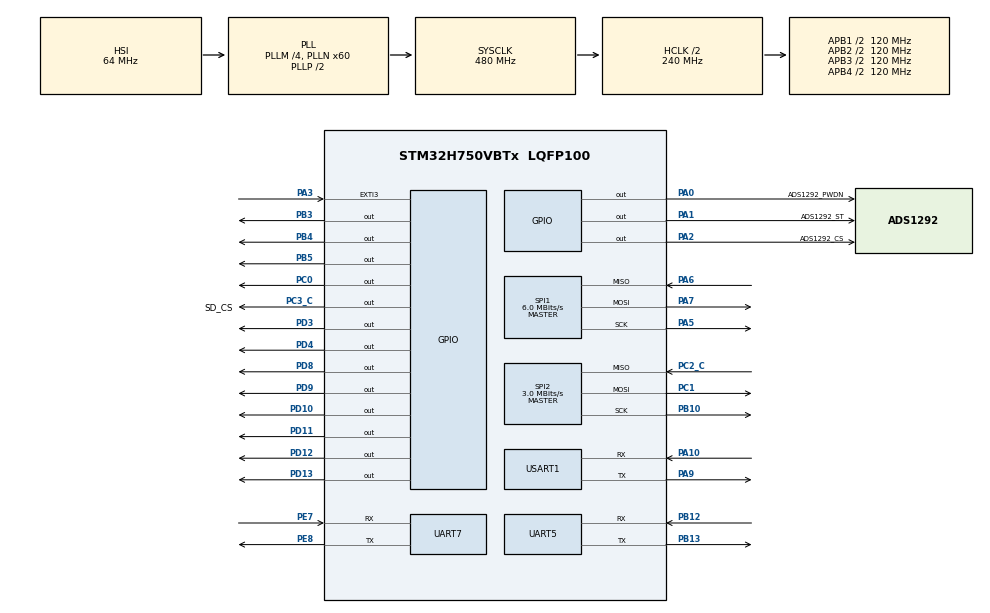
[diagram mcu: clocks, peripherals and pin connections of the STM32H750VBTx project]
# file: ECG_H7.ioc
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CORTEX_M7.default_mode_Activation=1
FATFS._MAX_SS=4096
FATFS._MIN_SS=512
FATFS._USE_LFN=1
Mcu.Family=STM32H7
Mcu.Name=STM32H750VBTx
Mcu.Package=LQFP100
NVIC.EXTI3_IRQn=true\:1\:0\:true\:false\:true\:true\:true\:true
NVIC.PriorityGroup=NVIC_PRIORITYGROUP_4
NVIC.UART5_IRQn=true\:2\:0\:true\:false\:true\:true\:true\:true
NVIC.UART7_IRQn=true\:2\:0\:true\:false\:true\:true\:true\:true
PA0.GPIO_Label=ADS1292_PWDN
PA0.GPIO_PuPd=GPIO_PULLUP
PA0.GPIO_Speed=GPIO_SPEED_FREQ_HIGH
PA0.PinState=GPIO_PIN_SET
PA0.Signal=GPIO_Output
PA1.GPIO_Label=ADS1292_ST
PA1.GPIO_PuPd=GPIO_PULLUP
PA1.GPIO_Speed=GPIO_SPEED_FREQ_HIGH
PA1.PinState=GPIO_PIN_SET
PA1.Signal=GPIO_Output
PA10.Mode=Asynchronous
PA10.Signal=USART1_RX
PA13\ (JTMS/SWDIO).Mode=Serial_Wire
PA13\ (JTMS/SWDIO).Signal=DEBUG_JTMS-SWDIO
PA14\ (JTCK/SWCLK).Mode=Serial_Wire
PA14\ (JTCK/SWCLK).Signal=DEBUG_JTCK-SWCLK
PA2.GPIO_Label=ADS1292_CS
PA2.GPIO_PuPd=GPIO_PULLUP
PA2.GPIO_Speed=GPIO_SPEED_FREQ_VERY_HIGH
PA2.PinState=GPIO_PIN_SET
PA2.Signal=GPIO_Output
PA3.GPIO_ModeDefaultEXTI=GPIO_MODE_IT_FALLING
PA3.GPIO_PuPd=GPIO_PULLUP
PA3.Signal=GPXTI3
PA5.Mode=Full_Duplex_Master
PA5.Signal=SPI1_SCK
PA6.Mode=Full_Duplex_Master
PA6.Signal=SPI1_MISO
PA7.Mode=Full_Duplex_Master
PA7.Signal=SPI1_MOSI
PA9.Mode=Asynchronous
PA9.Signal=USART1_TX
PB10.Mode=Full_Duplex_Master
PB10.Signal=SPI2_SCK
PB12.Mode=Asynchronous
PB12.Signal=UART5_RX
PB13.Mode=Asynchronous
PB13.Signal=UART5_TX
PB3\ (JTDO/TRACESWO).PinState=GPIO_PIN_RESET
PB3\ (JTDO/TRACESWO).Signal=GPIO_Output
PB4\ (NJTRST).Signal=GPIO_Output
PB5.Signal=GPIO_Output
PC0.Signal=GPIO_Output
PC1.Mode=Full_Duplex_Master
PC1.Signal=SPI2_MOSI
PC2_C.Mode=Full_Duplex_Master
PC2_C.Signal=SPI2_MISO
PC3_C.GPIO_Label=SD_CS
PC3_C.GPIO_PuPd=GPIO_PULLUP
PC3_C.GPIO_Speed=GPIO_SPEED_FREQ_VERY_HIGH
PC3_C.PinState=GPIO_PIN_SET
PC3_C.Signal=GPIO_Output
PD10.Signal=GPIO_Output
PD11.Signal=GPIO_Output
PD12.Signal=GPIO_Output
PD13.Signal=GPIO_Output
PD3.GPIO_PuPd=GPIO_NOPULL
PD3.GPIO_Speed=GPIO_SPEED_FREQ_LOW
PD3.PinState=GPIO_PIN_RESET
PD3.Signal=GPIO_Output
PD4.Signal=GPIO_Output
PD8.Signal=GPIO_Output
PD9.Signal=GPIO_Output
PE7.Mode=Asynchronous
PE7.Signal=UART7_RX
PE8.Mode=Asynchronous
PE8.Signal=UART7_TX
PH0-OSC_IN\ (PH0).Mode=HSE-External-Oscillator
PH0-OSC_IN\ (PH0).Signal=RCC_OSC_IN
PH1-OSC_OUT\ (PH1).Mode=HSE-External-Oscillator
PH1-OSC_OUT\ (PH1).Signal=RCC_OSC_OUT
ProjectManager.HeapSize=0x200
ProjectManager.StackSize=0x1400
ProjectManager.TargetToolchain=MDK-ARM V5.32
RCC.ADCFreq_Value=129000000
RCC.APB1Freq_Value=120000000
RCC.APB2Freq_Value=120000000
RCC.APB3Freq_Value=120000000
RCC.APB4Freq_Value=120000000
RCC.CortexFreq_Value=480000000
RCC.D1PPRE=RCC_APB3_DIV2
RCC.D2PPRE1=RCC_APB1_DIV2
RCC.D2PPRE2=RCC_APB2_DIV2
RCC.D3PPRE=RCC_APB4_DIV2
RCC.DIVM1=4
RCC.DIVN1=60
RCC.DIVQ1=5
RCC.HCLKFreq_Value=240000000
RCC.HPRE=RCC_HCLK_DIV2
RCC.PLL2FRACN=0
RCC.PLL3FRACN=0
RCC.PLLFRACN=0
RCC.SYSCLKFreq_VALUE=480000000
RCC.SYSCLKSource=RCC_SYSCLKSOURCE_PLLCLK
RCC.USBFreq_Value=192000000
SPI1.BaudRatePrescaler=SPI_BAUDRATEPRESCALER_32
SPI1.CLKPhase=SPI_PHASE_2EDGE
SPI1.CalculateBaudRate=6.0 MBits/s
SPI1.DataSize=SPI_DATASIZE_8BIT
SPI1.Direction=SPI_DIRECTION_2LINES
SPI1.Mode=SPI_MODE_MASTER
SPI1.VirtualType=VM_MASTER
SPI2.BaudRatePrescaler=SPI_BAUDRATEPRESCALER_64
SPI2.CLKPhase=SPI_PHASE_2EDGE
SPI2.CLKPolarity=SPI_POLARITY_HIGH
SPI2.CalculateBaudRate=3.0 MBits/s
SPI2.DataSize=SPI_DATASIZE_8BIT
SPI2.Direction=SPI_DIRECTION_2LINES
SPI2.Mode=SPI_MODE_MASTER
SPI2.VirtualType=VM_MASTER
USART1.VirtualMode-Asynchronous=VM_ASYNC
VP_FATFS_VS_Generic.Mode=User_defined
VP_MEMORYMAP_VS_MEMORYMAP.Mode=CurAppReg
board=custom

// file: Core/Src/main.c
/* USER CODE BEGIN Header */
/**
  ******************************************************************************
  * @file           : main.c
  * @brief          : Main program body
  ******************************************************************************
  * @attention
  *
  * Copyright (c) 2026 STMicroelectronics.
  * All rights reserved.
  *
  * This software is licensed under terms that can be found in the LICENSE file
  * in the root directory of this software component.
  * If no LICENSE file comes with this software, it is provided AS-IS.
  *
  ******************************************************************************
  */
/* USER CODE END Header */
#include "main.h"
#include "fatfs.h"
#include "spi.h"
#include "usart.h"
#include "gpio.h"

/* USER CODE BEGIN Includes */
#include "task.h"
/* USER CODE END Includes */

void SystemClock_Config(void);
static void MPU_Config(void);

int main(void)
{

  /* MPU Configuration--------------------------------------------------------*/
  MPU_Config();

  /* MCU Configuration--------------------------------------------------------*/

  /* Reset of all peripherals, Initializes the Flash interface and the Systick. */
  HAL_Init();

  /* Configure the system clock */
  SystemClock_Config();

  /* Initialize all configured peripherals */
  MX_GPIO_Init();
  MX_SPI1_Init();
  MX_SPI2_Init();
  MX_UART5_Init();
  MX_UART7_Init();
  MX_FATFS_Init();
  MX_USART1_UART_Init();
  /* USER CODE BEGIN 2 */
    /* ===== 用户自定义初始化 ===== */
    /* 1) SPI CS引脚初始化 + ADS1292初始化和启动 */
    /* 2) 初始化心电FIR滤波器(S1/LPF, S2/BPF) */
    /* 3) 初始化HMI串口屏状态机 */
	SPI_Init();
	ADS1292_Init(&hspi1);
	ADS1292_Set_start(&hspi1);

	arm_fir_init_f32(&S1, NumTaps, (float32_t *)LPF_2Hz, firState1, blockSize);
	arm_fir_init_f32(&S2, NumTaps, (float32_t *)BPF_5Hz_40Hz, firState2, blockSize);

	HMI_Init();
	DBG_Printf("ECG start....\n");
  /* USER CODE END 2 */

  /* Infinite loop */
  while (1)
  {

    /* USER CODE BEGIN 3 */
    /* ════════════════════════════════════════════════ */
    /* 主循环：
     * ecg_camp_task()  → 连续读取ADS1292数据（DRYD中断驱动）
     * HMI_TaskProcess() → HMI串口屏状态机调度
     *                    （内含ecg_showwave_task调用）
     * HAL_Delay(10)     → 释放CPU 10ms
     *
     * 采集流程：ecg_camp_task 读取数据→ecg_showwave_task
     *   FIR滤波→[算法采集钩子]→积累到算法缓冲区
     *   → HMI状态机检测采集完成→调用算法任务
     * ════════════════════════════════════════════════ */

		ecg_camp_task();
		HMI_TaskProcess();
		HAL_Delay(1);

	}
  /* USER CODE END 3 */
}

void SystemClock_Config(void)
{
  RCC_OscInitTypeDef RCC_OscInitStruct = {0};
  RCC_ClkInitTypeDef RCC_ClkInitStruct = {0};

  /** Supply configuration update enable
  */
  HAL_PWREx_ConfigSupply(PWR_LDO_SUPPLY);

  /** Configure the main internal regulator output voltage
  */
  __HAL_PWR_VOLTAGESCALING_CONFIG(PWR_REGULATOR_VOLTAGE_SCALE0);

  while(!__HAL_PWR_GET_FLAG(PWR_FLAG_VOSRDY)) {}

  /** Initializes the RCC Oscillators according to the specified parameters
  * in the RCC_OscInitTypeDef structure.
  */
  RCC_OscInitStruct.OscillatorType = RCC_OSCILLATORTYPE_HSI;
  RCC_OscInitStruct.HSIState = RCC_HSI_DIV1;
  RCC_OscInitStruct.HSICalibrationValue = RCC_HSICALIBRATION_DEFAULT;
  RCC_OscInitStruct.PLL.PLLState = RCC_PLL_ON;
  RCC_OscInitStruct.PLL.PLLSource = RCC_PLLSOURCE_HSI;
  RCC_OscInitStruct.PLL.PLLM = 4;
  RCC_OscInitStruct.PLL.PLLN = 60;
  RCC_OscInitStruct.PLL.PLLP = 2;
  RCC_OscInitStruct.PLL.PLLQ = 5;
  RCC_OscInitStruct.PLL.PLLR = 2;
  RCC_OscInitStruct.PLL.PLLRGE = RCC_PLL1VCIRANGE_3;
  RCC_OscInitStruct.PLL.PLLVCOSEL = RCC_PLL1VCOWIDE;
  RCC_OscInitStruct.PLL.PLLFRACN = 0;
  if (HAL_RCC_OscConfig(&RCC_OscInitStruct) != HAL_OK)
  {
    Error_Handler();
  }

  /** Initializes the CPU, AHB and APB buses clocks
  */
  RCC_ClkInitStruct.ClockType = RCC_CLOCKTYPE_HCLK|RCC_CLOCKTYPE_SYSCLK
                              |RCC_CLOCKTYPE_PCLK1|RCC_CLOCKTYPE_PCLK2
                              |RCC_CLOCKTYPE_D3PCLK1|RCC_CLOCKTYPE_D1PCLK1;
  RCC_ClkInitStruct.SYSCLKSource = RCC_SYSCLKSOURCE_PLLCLK;
  RCC_ClkInitStruct.SYSCLKDivider = RCC_SYSCLK_DIV1;
  RCC_ClkInitStruct.AHBCLKDivider = RCC_HCLK_DIV2;
  RCC_ClkInitStruct.APB3CLKDivider = RCC_APB3_DIV2;
  RCC_ClkInitStruct.APB1CLKDivider = RCC_APB1_DIV2;
  RCC_ClkInitStruct.APB2CLKDivider = RCC_APB2_DIV2;
  RCC_ClkInitStruct.APB4CLKDivider = RCC_APB4_DIV2;

  if (HAL_RCC_ClockConfig(&RCC_ClkInitStruct, FLASH_LATENCY_4) != HAL_OK)
  {
    Error_Handler();
  }
}

/* USER CODE BEGIN 4 */

void HAL_GPIO_EXTI_Callback(uint16_t GPIO_Pin)
{
    switch(GPIO_Pin)
    {
        case GPIO_PIN_3:
            {
                drdy_flag = 1;
                break;
            }
       default:
            //printf("Unknown EXTI interrupt triggered: GPIO_Pin = %d\r\n", GPIO_Pin);
         break;

    }
}

/* USER CODE END 4 */

 /* MPU Configuration */

void MPU_Config(void)
{
  MPU_Region_InitTypeDef MPU_InitStruct = {0};

  /* Disables the MPU */
  HAL_MPU_Disable();

  /** Initializes and configures the Region and the memory to be protected
  */
  MPU_InitStruct.Enable = MPU_REGION_ENABLE;
  MPU_InitStruct.Number = MPU_REGION_NUMBER0;
  MPU_InitStruct.BaseAddress = 0x0;
  MPU_InitStruct.Size = MPU_REGION_SIZE_4GB;
  MPU_InitStruct.SubRegionDisable = 0x87;
  MPU_InitStruct.TypeExtField = MPU_TEX_LEVEL0;
  MPU_InitStruct.AccessPermission = MPU_REGION_NO_ACCESS;
  MPU_InitStruct.DisableExec = MPU_INSTRUCTION_ACCESS_DISABLE;
  MPU_InitStruct.IsShareable = MPU_ACCESS_SHAREABLE;
  MPU_InitStruct.IsCacheable = MPU_ACCESS_NOT_CACHEABLE;
  MPU_InitStruct.IsBufferable = MPU_ACCESS_NOT_BUFFERABLE;

  HAL_MPU_ConfigRegion(&MPU_InitStruct);
  /* Enables the MPU */
  HAL_MPU_Enable(MPU_PRIVILEGED_DEFAULT);

}

void Error_Handler(void)
{
  __disable_irq();
  while (1)
  {
  }
}
